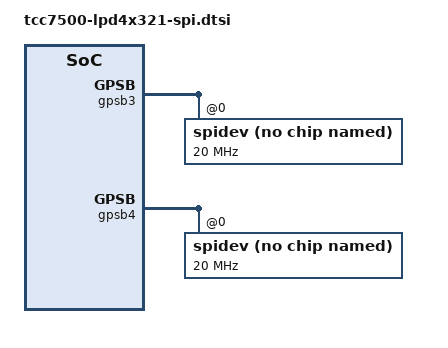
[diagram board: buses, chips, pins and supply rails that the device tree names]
// SPDX-License-Identifier: (GPL-2.0-or-later OR MIT)
/*
 * Copyright (C) 2023 Telechips Inc.
 */

&gpsb3 {
	status = "okay";
	pinctrl-names = "idle", "active", "sleep";
	pinctrl-0 = <&gpsb_ipc_bus_idle>;
	pinctrl-1 = <&gpsb_ipc_bus_spi>;
	pinctrl-2 = <&gpsb_ipc_bus_idle>;
	#address-cells = <1>;
	#size-cells = <0>;

	spidev@0 {
		compatible = "rohm,dh2228fv";
		reg = <0>;
		spi-max-frequency = <20000000>;
	};
};

&gpsb4 {
	status = "okay";
	pinctrl-names = "idle", "active", "sleep";
	pinctrl-0 = <&gpsb_rvc_bus_idle>;
	pinctrl-1 = <&gpsb_rvc_bus_spi>;
	pinctrl-2 = <&gpsb_rvc_bus_idle>;
	spi-srvc;
	#address-cells = <1>;
	#size-cells = <0>;

	spidev@0 {
		compatible = "rohm,dh2228fv";
		reg = <0>;
		spi-max-frequency = <20000000>;
	};
};

&pinctrl {
	gpsb_rvc_bus_idle: gpsb_rvc_bus_idle {
		telechips,pins = "gph-0", "gph-1", "gph-3", "gph-2";
		telechips,pin-function = <0>;
		telechips,input_buffer_enable;
	};

	gpsb_rvc_bus_spi: gpsb_rvc_bus_spi {
		telechips,pins = "gph-0", "gph-1", "gph-3", "gph-2";
		telechips,pin-function = <1>;
		telechips,input_buffer_enable;
	};

	gpsb_ipc_bus_idle: gpsb_ipc_bus_idle {
		telechips,pins = "gpf-4", "gpf-5", "gpf-6", "gpf-7";
		telechips,pin-function = <0>;
		telechips,input_buffer_enable;
	};

	gpsb_ipc_bus_spi: gpsb_ipc_bus_spi {
		telechips,pins = "gpf-4", "gpf-5", "gpf-6", "gpf-7";
		telechips,pin-function = <2>;
		telechips,input_buffer_enable;
	};
};
